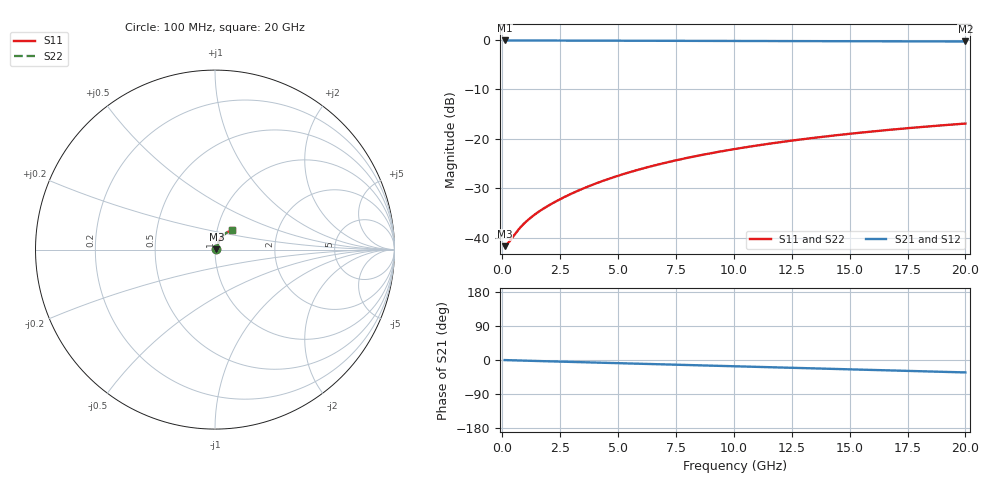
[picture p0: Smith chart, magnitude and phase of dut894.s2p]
! Touchstone file exported from HFSS 2026.1.0
!  File:  C:/ffzhzh/LocalFiles/Ansys_Project_Files/temp_train_TMRDL_894_1783157708_18472.aedt
!  Generated:  05:36:14 PM Jul  4, 2026
!  Design:  TMRDL
!  Project:  temp_train_TMRDL_894_1783157708_18472
! Variables:
!  h_bsmrdl = 2um
!  h_ox = 20um
!  h_rdl = 5um
!  h_sub = 80um
!  h_tmrdl = 2.09um
!  h_tsv = 80um
!  h_via = 3um
!  l_bsmrdl = 300um
!  l_sub = 975.35um
!  l_tmrdl = 575.35um
!  m_sub = 200um
!  pitch = 16.66um
!  r_tsv = 6um
!  s_tmrdl = 10um
!  w_bsmrdl = 18um
!  w_sub = 500um
!  w_tmrdl = 12.14um
!  x_tsv_center1 = 581.42um
!  x_tsv_center2 = 899.42um
!  x_tsv_center3 = 1486.91um
!  x_tsv_center4 = 1804.91um
!  x_tsv_center5 = 2392.4um
!  x_tsv_center6 = 2710.4um
# GHz S MA R 50.000000
! Terminal data exported
! Port[1] = TM_RDL1_1_T1
! Port[2] = TM_RDL1_1_T2
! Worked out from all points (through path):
!   200 points, 100 MHz to 20 GHz, reference 50 ohm
!   highest |S21| = -0.07 dB at 100 MHz (marker M1); lowest = -0.3 dB at 20 GHz (marker M2)
!   group delay of S21, straight-line fit = 4.54 ps
!   lowest |S11| = -41.7 dB at 100 MHz (marker M3), VSWR 1.02, Z = 50.8 + j0.12 ohm
!   |S11| at or under -10 dB: start of sweep to end of sweep
!   |S22| runs from -41.7 to -16.9 dB; largest |S21 - S12| = 4.3e-15
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0.1  0.008197 8.3  0.9919 -0.2  0.9919 -0.2  0.008197 8.3
! Gamma 0 0 0 0
! Port Impedance 50 0 50 0
0.2  0.008557 15.8  0.9918 -0.4  0.9918 -0.4  0.008557 15.8
0.3  0.009101 22.3  0.9916 -0.6  0.9916 -0.6  0.009101 22.3
0.6  0.01128 35.0  0.9908 -1.1  0.9908 -1.1  0.01128 35.0
0.9  0.01359 41.7  0.9901 -1.6  0.9901 -1.6  0.01359 41.7
1.1  0.01505 44.7  0.9896 -2.0  0.9896 -2.0  0.01505 44.7
1.4  0.01714 48.2  0.9891 -2.5  0.9891 -2.5  0.01714 48.2
1.8  0.01982 51.9  0.9885 -3.1  0.9885 -3.1  0.01982 51.9
2.3  0.02317 55.4  0.988 -3.9  0.988 -3.9  0.02317 55.4
2.9  0.02728 58.6  0.9876 -4.9  0.9876 -4.9  0.02728 58.6
3.5  0.03149 60.8  0.9872 -5.9  0.9872 -5.9  0.03149 60.8
4.2  0.0365 62.5  0.9867 -7.1  0.9867 -7.1  0.03651 62.5
5  0.04232 63.7  0.9861 -8.4  0.9861 -8.4  0.04232 63.6
5.9  0.04892 64.2  0.9854 -9.9  0.9854 -9.9  0.04892 64.2
6.8  0.05553 64.2  0.9847 -11.4  0.9847 -11.4  0.05553 64.2
8.4  0.06719 63.5  0.9832 -14.0  0.9832 -14.0  0.06719 63.4
10.1  0.07936 62.0  0.9814 -16.8  0.9814 -16.8  0.07936 62.0
11.7  0.09055 60.2  0.9795 -19.4  0.9795 -19.4  0.09055 60.2
13.4  0.1021 58.1  0.9774 -22.2  0.9774 -22.2  0.1021 58.1
15  0.1126 56.0  0.9753 -24.8  0.9753 -24.8  0.1126 55.9
16.7  0.1233 53.6  0.973 -27.5  0.973 -27.5  0.1233 53.6
20  0.1429 48.9  0.9684 -32.8  0.9684 -32.8  0.1429 48.8
